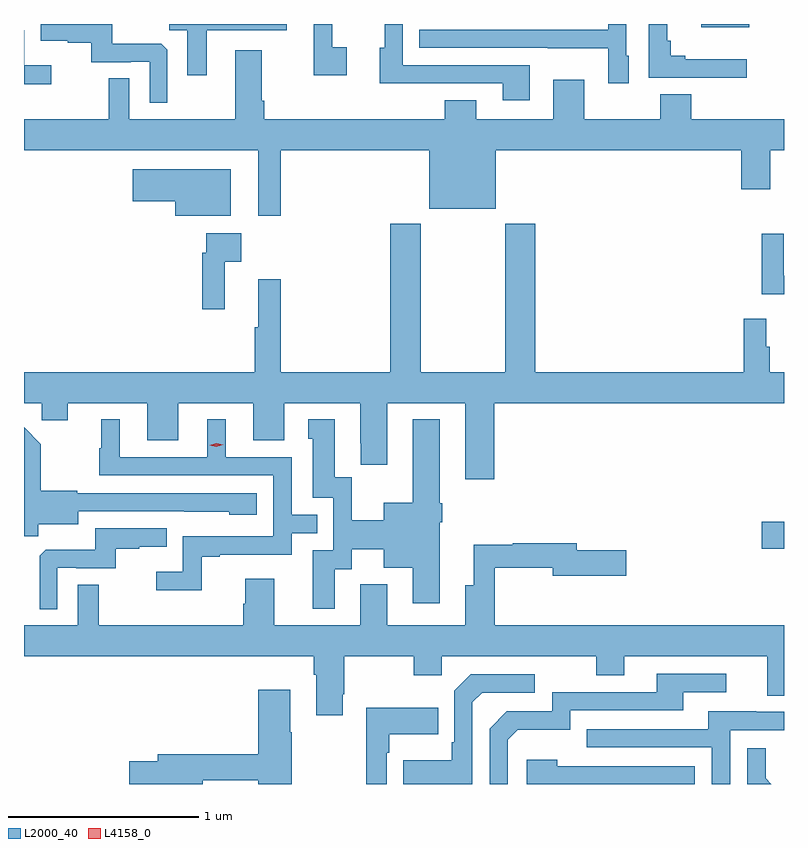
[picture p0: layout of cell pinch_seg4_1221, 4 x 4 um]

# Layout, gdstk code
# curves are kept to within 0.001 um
import gdstk
lib = gdstk.Library(unit=1e-6, precision=1e-09)
def R(c, l, rs):  # rectangles x0, y0, x1, y1
    for r in rs: c.add(gdstk.rectangle(r[:2], r[2:], *l))
def P(c, l, *ps):  # polygons
    for p in ps: c.add(gdstk.Polygon(p, *l))
L2000_40 = (2000, 40)
L4158_0 = (4158, 0)

pinch_seg4_1221 = lib.new_cell('pinch_seg4_1221')
R(pinch_seg4_1221, L2000_40, [(150.24,812.038,150.356,812.18), (149.921,814.784,150.172,814.8)])
P(pinch_seg4_1221, L2000_40, [(147.111,814.665),(147.079,814.697),(146.821,814.697),(146.821,814.8),(146.443,814.8),(146.443,814.712),(146.587,814.712),(146.587,814.701),(146.711,814.701),(146.711,814.599),(146.918,814.599),(146.918,814.602),(147.018,814.602),(147.018,814.385),(147.111,814.385)],
  [(149.017,814.584),(148.35,814.584),(148.35,814.8),(148.254,814.8),(148.254,814.674),(148.229,814.674),(148.229,814.487),(148.447,814.487),(148.447,814.488),(148.877,814.488),(148.877,814.398),(149.017,814.398)],
  [(147.319,814.766),(147.739,814.766),(147.739,814.8),(147.12,814.8),(147.12,814.768),(147.215,814.768),(147.215,814.53),(147.319,814.53)],
  [(149.539,814.632),(149.526,814.632),(149.526,814.8),(149.43,814.8),(149.43,814.77),(148.435,814.77),(148.435,814.674),(149.113,814.674),(149.113,814.673),(149.43,814.673),(149.43,814.488),(149.539,814.488)],
  [(148.054,814.678),(147.978,814.678),(147.978,814.8),(147.881,814.8),(147.881,814.53),(148.054,814.53)],
  [(150.16,814.615),(149.836,814.615),(149.836,814.634),(149.759,814.634),(149.759,814.711),(149.741,814.711),(149.741,814.8),(149.643,814.8),(149.643,814.518),(150.16,814.518)],
  [(146.5,814.582),(146.358,814.582),(146.358,814.767),(146.356,814.767),(146.356,814.484),(146.5,814.484)],
  [(148.735,814.399),(148.571,814.399),(148.571,814.3),(147.62,814.3),(147.62,814.396),(147.607,814.396),(147.607,814.663),(147.467,814.663),(147.467,814.3),(146.91,814.3),(146.91,814.514),(146.802,814.514),(146.802,814.3),(146.356,814.3),(146.356,814.136),(147.59,814.136),(147.59,813.792),(147.707,813.792),(147.707,814.136),(148.49,814.136),(148.49,813.827),(148.84,813.827),(148.84,814.136),(150.131,814.136),(150.131,813.93),(150.283,813.93),(150.283,814.136),(150.356,814.136),(150.356,814.3),(149.869,814.3),(149.869,814.429),(149.705,814.429),(149.705,814.3),(149.305,814.3),(149.305,814.507),(149.141,814.507),(149.141,814.3),(148.735,814.3)],
  [(147.445,814.036),(146.928,814.036),(146.928,813.866),(147.152,813.866),(147.152,813.791),(147.445,813.791)],
  [(148.832,812.804),(150.356,812.804),(150.356,812.968),(150.281,812.968),(150.281,813.101),(150.262,813.101),(150.262,813.25),(150.145,813.25),(150.145,812.968),(149.048,812.968),(149.048,813.748),(148.888,813.748),(148.888,812.968),(148.443,812.968),(148.443,813.748),(148.283,813.748),(148.283,812.968),(147.707,812.968),(147.707,813.457),(147.59,813.457),(147.59,813.204),(147.571,813.204),(147.571,812.968),(146.356,812.968),(146.356,812.804),(146.449,812.804),(146.449,812.714),(146.587,812.714),(146.587,812.804),(147.005,812.804),(147.005,812.61),(147.169,812.61),(147.169,812.804),(147.563,812.804),(147.563,812.61),(147.727,812.61),(147.727,812.804),(148.127,812.804),(148.127,812.593),(148.128,812.593),(148.128,812.481),(148.267,812.481),(148.267,812.804),(148.679,812.804),(148.679,812.403),(148.832,812.403)],
  [(147.413,813.548),(147.499,813.548),(147.499,813.7),(147.315,813.7),(147.315,813.596),(147.295,813.596),(147.295,813.3),(147.413,813.3)],
  [(150.356,813.474),(150.354,813.474),(150.354,813.697),(150.238,813.697),(150.238,813.378),(150.356,813.378)],
  [(147.991,811.93),(148.081,811.93),(148.081,812.036),(148.25,812.036),(148.25,811.937),(148.403,811.937),(148.403,811.752),(148.543,811.752),(148.543,812.177),(148.556,812.177),(148.556,812.277),(148.543,812.277),(148.543,812.719),(148.403,812.719),(148.403,812.281),(148.25,812.281),(148.25,812.188),(148.08,812.188),(148.08,812.415),(147.991,812.415),(147.991,812.719),(147.851,812.719),(147.851,812.616),(147.875,812.616),(147.875,812.307),(147.984,812.307),(147.984,812.031),(147.875,812.031),(147.875,811.722),(147.991,811.722)],
  [(147.291,811.995),(147.385,811.995),(147.385,812.007),(147.765,812.007),(147.765,812.121),(147.899,812.121),(147.899,812.217),(147.765,812.217),(147.765,812.52),(147.418,812.52),(147.418,812.719),(147.32,812.719),(147.32,812.52),(146.86,812.52),(146.86,812.719),(146.762,812.719),(146.762,812.568),(146.751,812.568),(146.751,812.424),(147.669,812.424),(147.669,812.103),(147.192,812.103),(147.192,811.918),(147.051,811.918),(147.051,811.82),(147.291,811.82)],
  [(146.43,812.168),(146.641,812.168),(146.641,812.235),(147.435,812.234),(147.435,812.216),(147.58,812.216),(147.58,812.331),(146.637,812.331),(146.637,812.344),(146.445,812.344),(146.445,812.589),(146.356,812.678),(146.356,812.104),(146.43,812.104)],
  [(146.532,811.938),(146.632,811.938),(146.632,811.935),(146.84,811.935),(146.84,812.037),(146.963,812.037),(146.963,812.048),(147.107,812.048),(147.107,812.145),(146.73,812.145),(146.73,812.033),(146.471,812.033),(146.439,812.001),(146.439,811.721),(146.532,811.721)],
  [(147.881,811.376),(147.893,811.376),(147.893,811.161),(148.033,811.161),(148.033,811.273),(148.041,811.273),(148.041,811.472),(148.408,811.472),(148.408,811.373),(148.554,811.373),(148.554,811.472),(149.368,811.472),(149.368,811.373),(149.515,811.373),(149.515,811.472),(150.269,811.472),(150.269,811.264),(150.356,811.264),(150.356,811.636),(148.834,811.636),(148.834,811.938),(149.138,811.938),(149.138,811.895),(149.527,811.895),(149.527,812.03),(149.266,812.03),(149.266,812.066),(148.928,812.066),(148.928,812.059),(148.724,812.059),(148.724,811.846),(148.679,811.846),(148.679,811.636),(148.267,811.636),(148.267,811.852),(148.127,811.852),(148.127,811.636),(147.673,811.636),(147.673,811.879),(147.521,811.879),(147.521,811.749),(147.509,811.749),(147.509,811.636),(146.749,811.636),(146.749,811.85),(146.64,811.85),(146.64,811.636),(146.356,811.636),(146.356,811.472),(147.881,811.472)],
  [(148.902,811.032),(148.955,811.085),(149.232,811.085),(149.232,811.188),(149.827,811.188),(149.827,811.284),(150.052,811.284),(150.052,811.38),(149.687,811.38),(149.687,811.284),(149.136,811.284),(149.136,811.182),(148.896,811.182),(148.806,811.092),(148.806,810.8),(148.902,810.8)],
  [(148.716,811.23),(148.767,811.281),(149.044,811.281),(149.044,811.377),(148.707,811.377),(148.62,811.29),(148.62,811.021),(148.608,811.021),(148.608,810.925),(148.351,810.925),(148.351,810.8),(148.716,810.8)],
  [(147.298,810.82),(147.59,810.82),(147.59,810.8),(147.765,810.8),(147.765,811.073),(147.757,811.073),(147.757,811.297),(147.59,811.297),(147.59,810.956),(147.059,810.956),(147.059,810.92),(146.91,810.92),(146.91,810.8),(147.298,810.8)],
  [(148.266,810.965),(148.279,810.965),(148.279,811.061),(148.535,811.061),(148.535,811.201),(148.158,811.201),(148.158,810.8),(148.266,810.8)],
  [(150.072,811.083),(150.356,811.083),(150.356,811.179),(150.211,811.179),(150.211,811.183),(149.957,811.183),(149.957,811.089),(149.317,811.089),(149.317,810.993),(149.976,810.993),(149.976,810.8),(150.072,810.8)],
  [(150.259,810.831),(150.259,810.988),(150.162,810.988),(150.162,810.8),(150.29,810.8)],
  [(149.886,810.894),(149.162,810.894),(149.162,810.928),(149.001,810.928),(149.001,810.8),(149.886,810.8)])
P(pinch_seg4_1221, L4158_0, [(147.369,812.574),(147.333,812.582),(147.333,812.582),(147.333,812.582),(147.369,812.594),(147.405,812.585),(147.405,812.585),(147.405,812.585)])

lib.write_gds('pinch_seg4_1221.gds')
